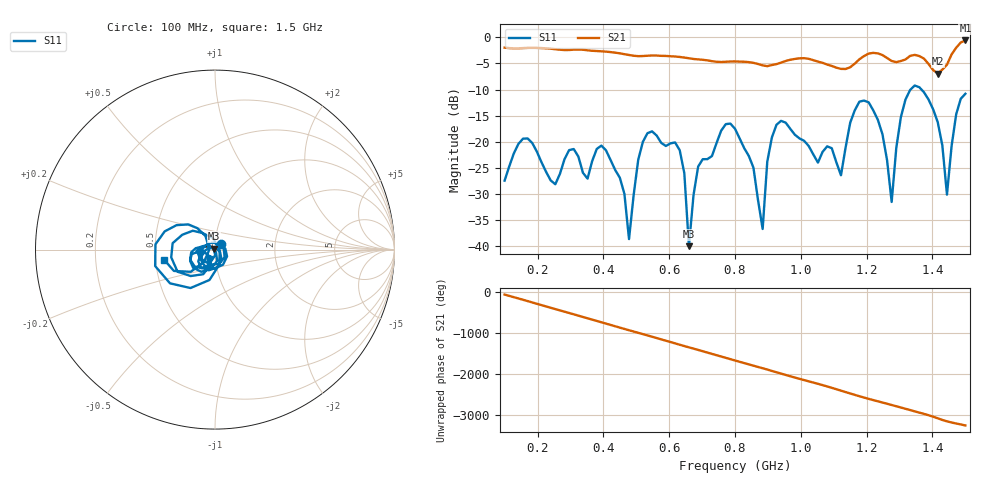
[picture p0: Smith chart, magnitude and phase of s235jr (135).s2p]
! NanoVNA-App
! Date: 2025-09-25 15:05:13
! Start: 100MHz Stop: 1,5GHz Points: 101
! S-Parameter data: F S11 S21 S12 S22
# Hz S RI R 50
!  Frequency  S11_Real  S11_Imag  S21_Real  S21_Imag  S12_Real  S12_Imag  S22_Real  S22_Imag
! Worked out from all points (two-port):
!   101 points, 100 MHz to 1.5 GHz, reference 50 ohm
!   highest |S21| = -0.58 dB at 1.5 GHz (marker M1); lowest = -6.9 dB at 1.416 GHz (marker M2)
!   |S21| within 3 dB of the highest: start of sweep to 504 MHz; 513.2 MHz to 596.6 MHz (83.43 MHz wide, 15 % of centre) (the widest 2 of 5)
!   lowest |S11| = -40.1 dB at 660 MHz (marker M3), VSWR 1.02, Z = 49.2 + j0.603 ohm
!   |S11| at or under -10 dB: start of sweep to 1.333 GHz; 1.367 GHz to end of sweep
!   S12 and S22 are empty: the file has one direction only
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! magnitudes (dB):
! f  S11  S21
! 100 MHz  -27.5  -2.0
! 156 MHz  -19.4  -2.0
! 338 MHz  -26.0  -2.4
! 408 MHz  -21.7  -2.7
! 478 MHz  -38.7  -3.4
! 520 MHz  -20.0  -3.6
! 576 MHz  -20.2  -3.5
! 632 MHz  -21.6  -3.7
! 660 MHz  -40.1  -4.0
! 688 MHz  -24.8  -4.2
! 800 MHz  -17.5  -4.6
! 884 MHz  -36.8  -5.4
! 898 MHz  -23.9  -5.5
! 926 MHz  -16.8  -5.1
! 1.038 GHz  -22.5  -4.4
! 1.122 GHz  -26.5  -6.0
! 1.206 GHz  -12.4  -3.1
! 1.276 GHz  -31.6  -4.5
! 1.332 GHz  -10.1  -3.5
! 1.416 GHz  -16.3  -6.9
! 1.444 GHz  -30.2  -5.2
! 1.5 GHz  -10.8  -0.6
